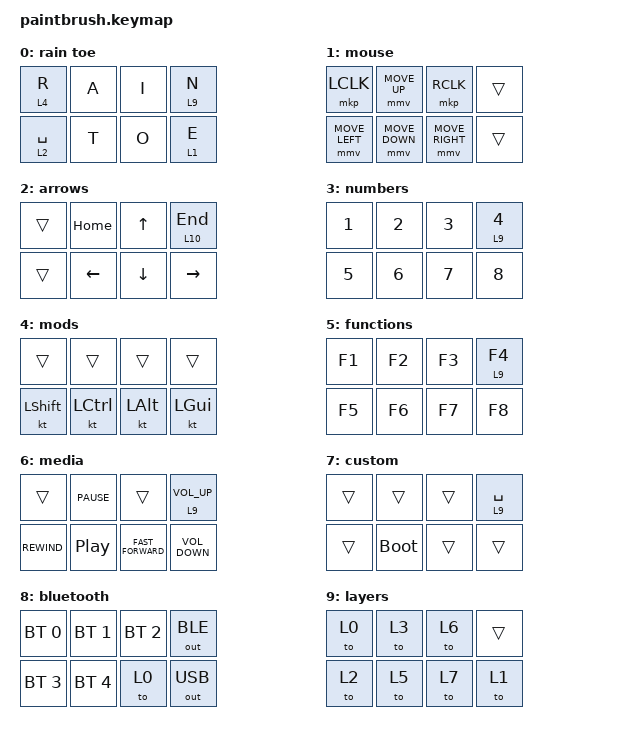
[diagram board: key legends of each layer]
#include <behaviors.dtsi>
#include <dt-bindings/zmk/bt.h>
#include <dt-bindings/zmk/keys.h>
#include <dt-bindings/zmk/outputs.h>
#include <dt-bindings/zmk/pointing.h>

/ {
    combos {
        compatible = "zmk,combos";

        d {
            bindings = <&kp D>;
            key-positions = <3 1>;
            layers = <0>;
        };

        b {
            bindings = <&kp B>;
            key-positions = <4 7>;
            layers = <0>;
        };

        c {
            bindings = <&kp C>;
            key-positions = <7 6>;
            layers = <0>;
        };

        f {
            bindings = <&kp F>;
            key-positions = <3 2>;
            layers = <0>;
        };

        g {
            bindings = <&kp G>;
            key-positions = <2 1>;
            layers = <0>;
        };

        h {
            bindings = <&kp H>;
            key-positions = <5 7>;
            layers = <0>;
        };

        j {
            bindings = <&kp J>;
            key-positions = <1 0>;
            layers = <0>;
        };

        k {
            bindings = <&kp K>;
            key-positions = <4 6>;
            layers = <0>;
        };

        l {
            bindings = <&kp L>;
            key-positions = <4 0>;
            layers = <0>;
        };

        m {
            bindings = <&kp M>;
            key-positions = <4 5>;
            layers = <0>;
        };

        n {
            bindings = <&kp P>;
            key-positions = <0 6>;
            layers = <0>;
        };

        q_old {
            bindings = <&kp Q>;
            key-positions = <0 1 3>;
            layers = <0>;
        };

        qu {
            bindings = <&qu>;
            key-positions = <1 7>;
        };

        s {
            bindings = <&kp S>;
            key-positions = <0 5>;
            layers = <0>;
        };

        u {
            bindings = <&kp U>;
            key-positions = <5 6>;
            layers = <0>;
        };

        v {
            bindings = <&kp V>;
            key-positions = <2 0>;
            layers = <0>;
        };

        w {
            bindings = <&kp W>;
            key-positions = <0 3>;
            layers = <0>;
        };

        x {
            bindings = <&kp X>;
            key-positions = <1 6>;
            layers = <0>;
        };

        y {
            bindings = <&kp Y>;
            key-positions = <6 2>;
            layers = <0>;
        };

        z {
            bindings = <&kp Z>;
            key-positions = <2 4>;
            layers = <0>;
        };

        caps_lock {
            bindings = <&kp CLCK>;
            key-positions = <4 5 6 3>;
        };

        single_quote {
            bindings = <&kp SINGLE_QUOTE>;
            key-positions = <5 6 3>;
        };

        comma {
            bindings = <&kp COMMA>;
            key-positions = <5 3>;
        };

        exclamation {
            bindings = <&kp EXCLAMATION>;
            key-positions = <5 1>;
            layers = <0>;
        };

        full_stop {
            bindings = <&kp PERIOD>;
            key-positions = <6 3>;
        };

        slash {
            bindings = <&kp SLASH>;
            key-positions = <3 4>;
            layers = <0>;
        };

        backspace {
            bindings = <&kp BACKSPACE>;
            key-positions = <2 7>;
        };

        delete {
            bindings = <&kp DELETE>;
            key-positions = <2 5>;
        };

        enter {
            bindings = <&kp ENTER>;
            key-positions = <3 7>;
        };

        bluetooth {
            bindings = <&to 8>;
            key-positions = <4 0 3 7>;
        };

        clear_bt_profile {
            bindings = <&bt BT_CLR>;
            key-positions = <5 6 2 1>;
            layers = <9>;
        };

        hyphen {
            bindings = <&kp MINUS>;
            key-positions = <4 1>;
            layers = <0>;
        };

        semi_colon {
            bindings = <&kp SEMICOLON>;
            key-positions = <6 5 4>;
        };

        colon {
            bindings = <&kp COLON>;
            key-positions = <6 5 7>;
        };

        question_mark {
            bindings = <&kp QUESTION>;
            key-positions = <4 1 6>;
        };

        double_quote {
            bindings = <&kp DOUBLE_QUOTES>;
            key-positions = <4 5 2>;
        };

        left_bracket {
            bindings = <&kp LEFT_PARENTHESIS>;
            key-positions = <4 2 3>;
        };

        right_bracket {
            bindings = <&kp RIGHT_PARENTHESIS>;
            key-positions = <4 7 6>;
        };

        at_symbol {
            bindings = <&kp AT_SIGN>;
            key-positions = <5 2 7>;
        };

        back_slash {
            bindings = <&kp BACKSLASH>;
            key-positions = <0 7>;
            layers = <0>;
        };

        ampersand {
            bindings = <&kp AMPERSAND>;
            key-positions = <6 1 3>;
        };

        hash {
            bindings = <&kp HASH>;
            key-positions = <6 3 2 7>;
        };

        asterisk {
            bindings = <&kp ASTERISK>;
            key-positions = <0 4 5 1>;
        };

        tab {
            bindings = <&kp TAB>;
            key-positions = <1 2 3>;
        };

        n9 {
            bindings = <&kp N9>;
            key-positions = <0 7>;
            layers = <3>;
        };

        n0 {
            bindings = <&kp N0>;
            key-positions = <0 6>;
            layers = <3>;
        };
    };

    macros {
        qu: qu {
            compatible = "zmk,behavior-macro";
            #binding-cells = <0>;
            bindings = <&kp Q &kp U>;
            label = "QU";
        };
    };

    keymap {
        compatible = "zmk,keymap";

        default_layer {
            bindings = <
&lt 4 R      &kp A  &kp I  &lt 9 N
&lt 2 SPACE  &kp T  &kp O  &lt 1 E
            >;

            label = "rain toe";
        };

        mouse {
            bindings = <
&mkp LCLK       &mmv MOVE_UP    &mkp RCLK        &trans
&mmv MOVE_LEFT  &mmv MOVE_DOWN  &mmv MOVE_RIGHT  &trans
            >;

            label = "mouse";
        };

        arrows {
            bindings = <
&trans  &kp HOME        &kp UP_ARROW    &lt 10 END
&trans  &kp LEFT_ARROW  &kp DOWN_ARROW  &kp RIGHT
            >;

            label = "arrows";
        };

        numbers {
            bindings = <
&kp NUMBER_1  &kp NUMBER_2  &kp NUMBER_3  &lt 9 NUMBER_4
&kp N5        &kp NUMBER_6  &kp N7        &kp N8
            >;

            label = "numbers";
        };

        modifiers {
            bindings = <
&trans          &trans            &trans        &trans
&kt LEFT_SHIFT  &kt LEFT_CONTROL  &kt LEFT_ALT  &kt LEFT_GUI
            >;

            label = "mods";
        };

        functions {
            bindings = <
&kp F1  &kp F2  &kp F3  &lt 9 F4
&kp F5  &kp F6  &kp F7  &kp F8
            >;

            label = "functions";
        };

        media {
            bindings = <
&trans        &kp C_PAUSE       &trans              &lt 9 C_VOL_UP
&kp C_REWIND  &kp C_PLAY_PAUSE  &kp C_FAST_FORWARD  &kp C_VOLUME_DOWN
            >;

            label = "media";
        };

        custom {
            bindings = <
&trans  &trans       &trans  &lt 9 SPACE
&trans  &bootloader  &trans  &trans
            >;

            label = "custom";
        };

        bluetooth {
            bindings = <
&bt BT_SEL 0  &bt BT_SEL 1  &bt BT_SEL 2  &out OUT_BLE
&bt BT_SEL 3  &bt BT_SEL 4  &to 0         &out OUT_USB
            >;

            label = "bluetooth";
        };

        layer_select {
            bindings = <
&to 0  &to 3  &to 6  &trans
&to 2  &to 5  &to 7  &to 1
            >;

            label = "layers";
        };
    };
};
